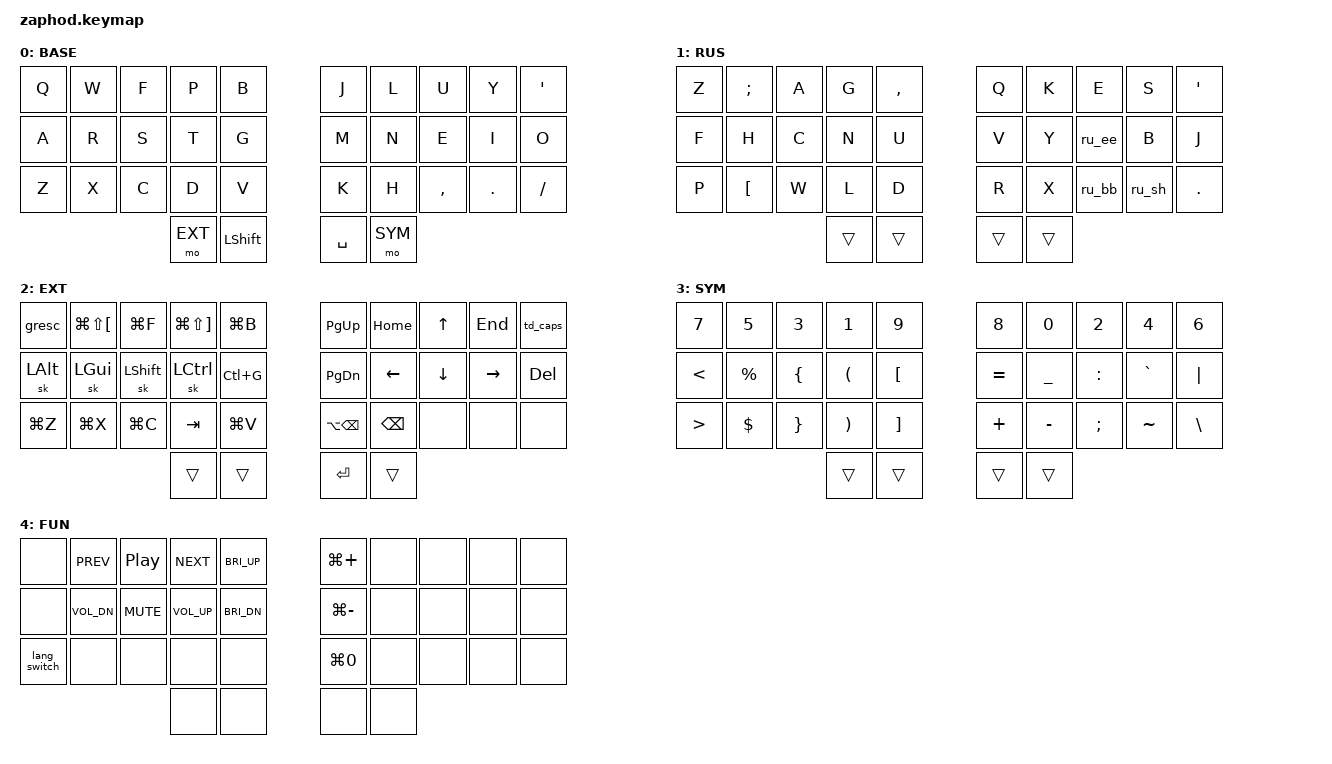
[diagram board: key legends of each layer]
/*
 * Copyright (c) 2021 Sviatoslav Bulbakha
 *
 * SPDX-License-Identifier: MIT
 */

#include <behaviors.dtsi>
#include <dt-bindings/zmk/keys.h>
#include <dt-bindings/zmk/bt.h>
#include <dt-bindings/zmk/ext_power.h>
#include <dt-bindings/zmk/outputs.h>

#define BAS 0
#define RUS 1
#define EXT 2
#define SYM 3
#define FUN 4

#define PREV LG(LS(LBKT))
#define NEXT LG(LS(RBKT))

#define FIND LG(F)

#define X_UNDO  LG(Z)
#define X_CUT   LG(X)
#define X_COPY  LG(C)
#define X_PASTE LG(V)

#define ZOOM_IN  LG(PLUS)
#define ZOOM_OUT LG(MINUS)
#define ZOOM_RES LG(N0)


/ {
    behaviors {
        hm: homerow_mods {
            compatible = "zmk,behavior-hold-tap";
            label = "homerow mods";
            #binding-cells = <2>;
            tapping_term_ms = <200>;
            flavor = "tap-preferred";
            bindings = <&kp>, <&kp>;
        };

        td_caps: td_caps {
            compatible = "zmk,behavior-tap-dance";
            label = "Caps Word / Caps Lock";
            #binding-cells = <0>;
            tapping-term-ms = <200>;
            bindings = <&caps_word>, <&kp CAPS>;
        };

        ru_ee: ru_ee {
            compatible = "zmk,behavior-tap-dance";
            label = "Russian Е / Ё";
            #binding-cells = <0>;
            tapping-term-ms = <200>;
            bindings = <&kp T>, <&kp BSLH>;
        };

        ru_bb: ru_bb {
            compatible = "zmk,behavior-tap-dance";
            label = "Russian Ь / Ъ";
            #binding-cells = <0>;
            tapping-term-ms = <200>;
            bindings = <&kp M>, <&kp RBKT>, <&kp KP_COMMA>;
        };

        ru_sh: ru_sh {
            compatible = "zmk,behavior-tap-dance";
            label = "Russian Ш / Щ";
            #binding-cells = <0>;
            tapping-term-ms = <200>;
            bindings = <&kp I>, <&kp O>, <&kp KP_DOT>;
        };
    };

    macros {
        lang_switch: lang_switch {
            label = "Language toggle";
            compatible = "zmk,behavior-macro";
            #binding-cells = <0>;
            wait-ms = <40>;
            tap-ms = <40>;
            bindings
                = <&macro_press &kp LGUI>
                , <&tog RUS>
                , <&macro_tap &kp SPACE>
                , <&macro_release &kp LGUI>
                ;
        };
    };

    conditional_layers {
        compatible = "zmk,conditional-layers";
        tri_layer {
            if-layers = <2 3>;
            then-layer = <4>;
        };
    };

    keymap {
        compatible = "zmk,keymap";

        default_layer {
            label = "BASE";
            bindings = <
&kp Q        &kp W        &kp F        &kp P        &kp B        &kp J        &kp L        &kp U        &kp Y        &kp SQT
&kp A        &kp R        &kp S        &kp T        &kp G        &kp M        &kp N        &kp E        &kp I        &kp O
&kp Z        &kp X        &kp C        &kp D        &kp V        &kp K        &kp H        &kp COMMA    &kp DOT      &kp FSLH
                                       &mo EXT      &kp LSHFT    &kp SPACE    &mo SYM
            >;
        };

        russian_layer {
            label = "RUS";
            bindings = <
&kp Z        &kp SEMI     &kp A         &kp G        &kp COMMA    &kp Q        &kp K        &kp E        &kp S        &kp SQT
&kp F        &kp H        &kp C         &kp N        &kp U        &kp V        &kp Y        &ru_ee       &kp B        &kp J
&kp P        &kp LBKT     &kp W         &kp L        &kp D        &kp R        &kp X        &ru_bb       &ru_sh       &kp DOT
                                        &trans       &trans       &trans       &trans
            >;
        };

        ext_layer {
            label = "EXT";
            bindings = <
&gresc       &kp PREV     &kp FIND      &kp NEXT     &kp LG(B)    &kp PG_UP    &kp HOME     &kp UP       &kp END      &td_caps
&sk LALT     &sk LGUI     &sk LSHFT     &sk LCTRL    &kp LC(G)    &kp PG_DN    &kp LEFT     &kp DOWN     &kp RIGHT    &kp DEL
&kp X_UNDO   &kp X_CUT    &kp X_COPY    &kp TAB      &kp X_PASTE  &kp LA(BSPC) &kp BSPC     &none        &none        &none
                                        &trans       &trans       &kp RET      &trans
            >;
        };

//         sym_layer {
//             label = "Sym";
//             bindings = <
// &kp EXCL     &kp AT       &kp HASH      &kp COLON    &kp SEMI     &kp EQUAL    &kp N4       &kp N5       &kp N6       &kp PLUS
// &kp PIPE     &kp PRCNT    &kp LBRC      &kp LPAR     &kp LBKT     &kp N0       &kp N1       &kp N2       &kp N3       &kp MINUS
// &kp BSLH     &kp UNDER    &kp RBRC      &kp RPAR     &kp RBKT     &kp STAR     &kp N7       &kp N8       &kp N9       &kp FSLH
//                                         &trans       &trans       &trans       &trans
//             >;
//         };

        sym_layer {
            label = "SYM";
            bindings = <
&kp N7       &kp N5       &kp N3        &kp N1       &kp N9       &kp N8       &kp N0       &kp N2       &kp N4       &kp N6
&kp LT       &kp PRCNT    &kp LBRC      &kp LPAR     &kp LBKT     &kp EQUAL    &kp UNDER    &kp COLON    &kp GRAVE    &kp PIPE
&kp GT       &kp DOLLAR   &kp RBRC      &kp RPAR     &kp RBKT     &kp PLUS     &kp MINUS    &kp SEMI     &kp TILDE    &kp BSLH
                                        &trans       &trans       &trans       &trans
            >;
        };

        fun_layer {
            label = "FUN";
            bindings = <
&none        &kp C_PREV   &kp C_PP      &kp C_NEXT   &kp C_BRI_UP &kp ZOOM_IN  &none        &none        &none        &none
&none        &kp C_VOL_DN &kp C_MUTE    &kp C_VOL_UP &kp C_BRI_DN &kp ZOOM_OUT &none        &none        &none        &none
&lang_switch &none        &none         &none        &none        &kp ZOOM_RES &none        &none        &none        &none
                                        &none        &none        &none        &none
            >;
        };
    };
};
